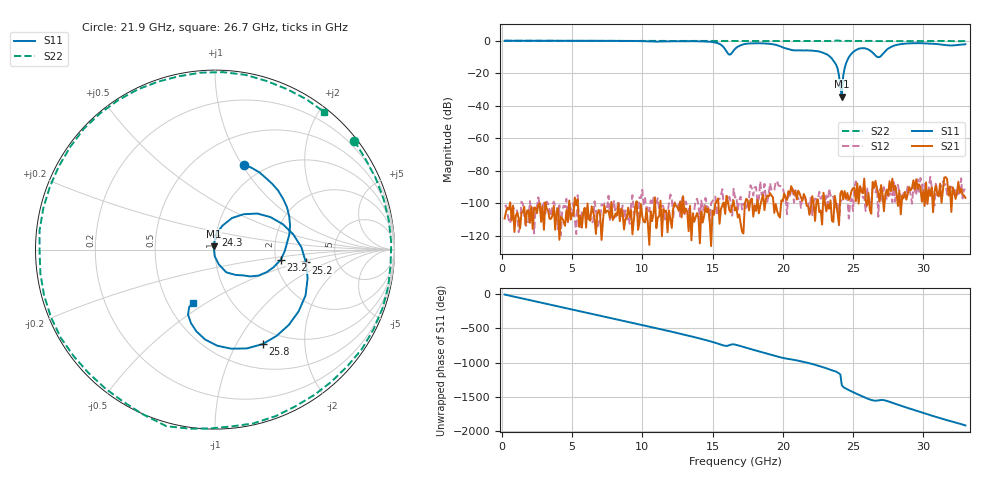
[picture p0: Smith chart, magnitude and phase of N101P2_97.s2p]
# GHZ S RI R 50
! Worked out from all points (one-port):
!   329 points, 200 MHz to 33 GHz, reference 50 ohm
!   lowest |S11| = -34.3 dB at 24.2 GHz (marker M1), VSWR 1.04, Z = 49.2 + j1.73 ohm
!   |S11| at or under -10 dB: 23.39 GHz to 24.71 GHz (1.325 GHz wide, 5.51 % of centre); 26.75 GHz to 26.89 GHz (138.7 MHz wide, 0.517 % of centre)
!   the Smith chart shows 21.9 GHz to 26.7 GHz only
!   S11 on the Smith chart (normalised r, x): 21.9 GHz: 0.81, +1.02; 23.2 GHz: 2.13, -0.28; 24.3 GHz: 0.99, +0.16; 25.2 GHz: 2.97, -0.58; 25.8 GHz: 0.80, -1.29; 26.7 GHz: 0.66, -0.44
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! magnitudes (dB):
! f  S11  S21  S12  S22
! 200 MHz  0.0  -109.3  -101.8  0.0
! 5.7 GHz  0.0  -114.9  -104.8  0.0
! 11.2 GHz  -0.5  -107.9  -103.5  -0.1
! 15.1 GHz  -0.9  -107.0  -97.5  -0.1
! 15.7 GHz  -3.2  -101.1  -91.2  -0.1
! 16.2 GHz  -8.6  -104.2  -95.9  -0.1
! 16.6 GHz  -5.1  -104.3  -96.5  -0.2
! 17.2 GHz  -2.2  -118.5  -100.1  -0.2
! 18.4 GHz  -1.6  -101.2  -86.4  -0.2
! 21.9 GHz  -6.0  -107.0  -106.2  -0.1
! 22.1 GHz  -6.1  -95.5  -107.3  -0.2
! 23.2 GHz  -8.6  -100.5  -100.8  -0.2
! 23.9 GHz  -17.0  -105.8  -99.2  0.2
! 24.2 GHz  -34.3  -92.2  -98.0  -0.1
! 24.3 GHz  -21.7  -97.5  -98.7  -0.1
! 24.6 GHz  -11.9  -93.6  -96.5  -0.1
! 25.2 GHz  -5.8  -98.7  -86.5  -0.1
! 25.8 GHz  -4.6  -84.7  -96.1  -0.1
! 26.7 GHz  -9.8  -90.9  -89.8  -0.2
! 27.6 GHz  -4.3  -86.4  -93.9  -0.2
! 29 GHz  -1.6  -89.9  -91.6  -0.2
! 33 GHz  -2.2  -96.5  -91.4  -0.2
